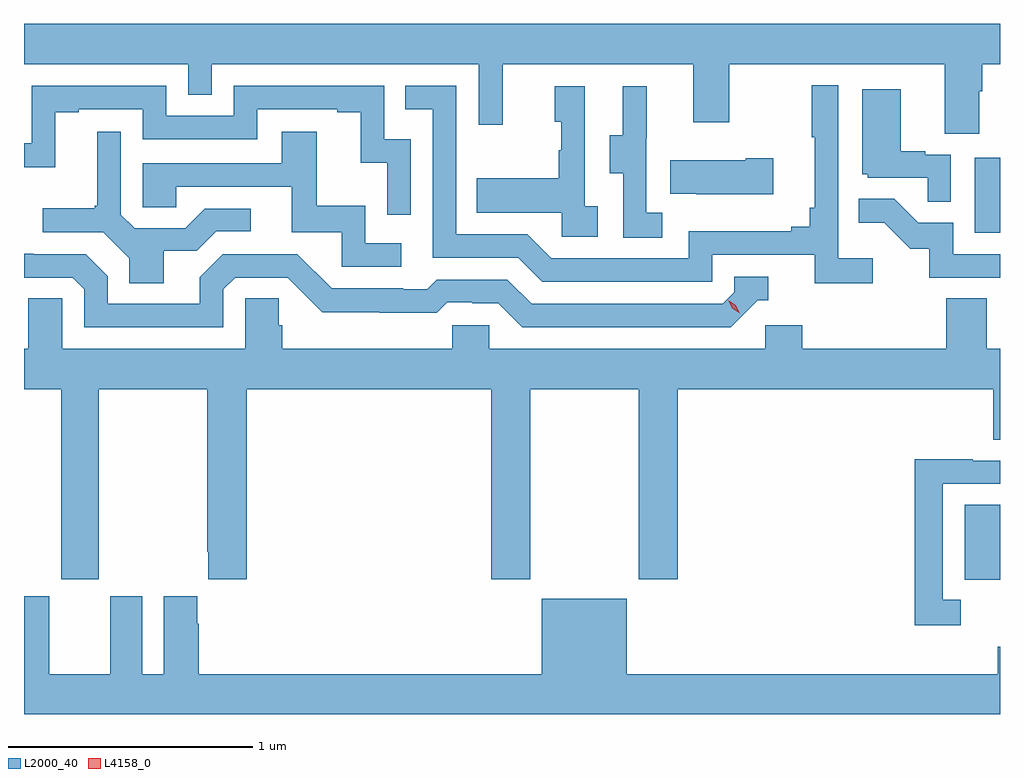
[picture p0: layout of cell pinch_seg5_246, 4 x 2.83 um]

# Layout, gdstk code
import gdstk
lib = gdstk.Library(unit=1e-6, precision=1e-09)
def R(c, l, rs):  # rectangles x0, y0, x1, y1
    for r in rs: c.add(gdstk.rectangle(r[:2], r[2:], *l))
def P(c, l, *ps):  # polygons
    for p in ps: c.add(gdstk.Polygon(p, *l))
L2000_40 = (2000, 40)
L4158_0 = (4158, 0)

pinch_seg5_246 = lib.new_cell('pinch_seg5_246')
R(pinch_seg5_246, L2000_40, [(938.324,905.262,938.469,905.569), (938.366,906.684,938.469,906.991)])
P(pinch_seg5_246, L2000_40, [(934.469,907.376),(935.142,907.376),(935.142,907.249),(935.238,907.249),(935.238,907.376),(936.333,907.376),(936.333,907.128),(936.431,907.128),(936.431,907.376),(937.211,907.376),(937.211,907.137),(937.359,907.137),(937.359,907.376),(938.243,907.376),(938.243,907.09),(938.383,907.09),(938.383,907.264),(938.396,907.264),(938.396,907.376),(938.469,907.376),(938.469,907.54),(934.469,907.54)],
  [(937.948,906.58),(937.806,906.58),(937.806,907.288),(937.698,907.288),(937.698,907.075),(937.709,907.075),(937.709,906.787),(937.69,906.787),(937.69,906.71),(937.613,906.71),(937.613,906.691),(937.194,906.691),(937.194,906.579),(936.63,906.579),(936.531,906.678),(936.24,906.678),(936.24,907.287),(936.031,907.287),(936.031,907.191),(936.144,907.191),(936.144,906.582),(936.494,906.582),(936.593,906.483),(937.29,906.483),(937.29,906.594),(937.709,906.594),(937.709,906.478),(937.948,906.478)],
  [(936.054,907.068),(935.946,907.068),(935.946,907.287),(935.328,907.287),(935.328,907.164),(935.052,907.164),(935.052,907.287),(934.5,907.287),(934.5,907.051),(934.469,907.051),(934.469,906.953),(934.597,906.953),(934.597,907.179),(934.693,907.179),(934.693,907.191),(934.956,907.191),(934.956,907.068),(935.424,907.068),(935.424,907.191),(935.753,907.191),(935.753,907.179),(935.849,907.179),(935.849,906.971),(935.958,906.971),(935.958,906.759),(936.054,906.759)],
  [(936.82,906.794),(936.768,906.794),(936.768,907.285),(936.644,907.285),(936.644,907.14),(936.67,907.14),(936.67,907.022),(936.66,907.022),(936.66,906.907),(936.325,906.907),(936.325,906.767),(936.672,906.767),(936.672,906.669),(936.82,906.669)],
  [(937.084,906.767),(937.02,906.767),(937.02,907.071),(937.022,907.071),(937.022,907.285),(936.923,907.285),(936.923,907.083),(936.869,907.083),(936.869,906.928),(936.924,906.928),(936.924,906.664),(937.084,906.664)],
  [(938.268,907.005),(938.162,907.005),(938.162,907.018),(938.062,907.018),(938.062,907.273),(937.904,907.273),(937.904,906.924),(937.926,906.924),(937.926,906.909),(938.173,906.909),(938.173,906.811),(938.268,906.811)],
  [(935.041,906.61),(935.176,906.61),(935.256,906.69),(935.398,906.69),(935.398,906.783),(935.21,906.783),(935.129,906.702),(934.923,906.702),(934.866,906.759),(934.866,907.099),(934.769,907.099),(934.769,906.796),(934.758,906.796),(934.758,906.784),(934.545,906.784),(934.545,906.687),(934.794,906.687),(934.901,906.58),(934.901,906.478),(935.041,906.478)],
  [(936.016,906.642),(935.868,906.642),(935.868,906.796),(935.669,906.796),(935.669,907.099),(935.525,907.099),(935.525,906.969),(934.956,906.969),(934.956,906.789),(935.093,906.789),(935.093,906.873),(935.567,906.873),(935.567,906.687),(935.772,906.687),(935.772,906.546),(936.016,906.546)],
  [(937.54,906.99),(937.427,906.99),(937.427,906.982),(937.117,906.982),(937.117,906.845),(937.225,906.845),(937.225,906.842),(937.54,906.842)],
  [(938.469,906.597),(938.277,906.597),(938.277,906.726),(938.133,906.726),(938.035,906.824),(937.891,906.824),(937.891,906.725),(937.995,906.725),(938.102,906.618),(938.179,906.618),(938.179,906.501),(938.469,906.501)],
  [(935.286,906.453),(935.334,906.501),(935.55,906.501),(935.692,906.359),(935.928,906.359),(935.928,906.357),(936.161,906.357),(936.203,906.399),(936.306,906.399),(936.306,906.396),(936.413,906.396),(936.512,906.297),(937.365,906.297),(937.476,906.408),(937.519,906.408),(937.519,906.504),(937.38,906.504),(937.38,906.441),(937.332,906.393),(936.549,906.393),(936.45,906.492),(936.161,906.492),(936.122,906.453),(936.023,906.453),(936.023,906.456),(935.73,906.456),(935.589,906.597),(935.283,906.597),(935.189,906.503),(935.189,906.393),(934.812,906.393),(934.812,906.507),(934.722,906.597),(934.506,906.597),(934.506,906.599),(934.469,906.599),(934.469,906.501),(934.668,906.501),(934.716,906.453),(934.716,906.297),(935.286,906.297)],
  [(934.776,906.044),(935.221,906.044),(935.221,905.377),(935.225,905.377),(935.225,905.265),(935.381,905.265),(935.381,906.044),(936.383,906.044),(936.383,905.265),(936.543,905.265),(936.543,906.044),(936.988,906.044),(936.988,905.265),(937.148,905.265),(937.148,906.044),(938.441,906.044),(938.441,905.836),(938.469,905.836),(938.469,906.208),(938.414,906.208),(938.414,906.416),(938.249,906.416),(938.249,906.208),(937.658,906.208),(937.658,906.306),(937.506,906.306),(937.506,906.208),(936.375,906.208),(936.375,906.306),(936.225,906.306),(936.225,906.208),(935.528,906.208),(935.528,906.306),(935.513,906.306),(935.513,906.416),(935.376,906.416),(935.376,906.208),(934.626,906.208),(934.626,906.416),(934.487,906.416),(934.487,906.208),(934.469,906.208),(934.469,906.044),(934.621,906.044),(934.621,905.265),(934.776,905.265)],
  [(938.308,905.181),(938.235,905.181),(938.235,905.655),(938.469,905.655),(938.469,905.751),(938.357,905.751),(938.357,905.756),(938.119,905.756),(938.119,905.076),(938.308,905.076)],
  [(938.469,904.988),(938.459,904.988),(938.459,904.876),(936.94,904.876),(936.94,905.185),(936.59,905.185),(936.59,904.876),(935.186,904.876),(935.186,905.081),(935.179,905.081),(935.179,905.194),(935.042,905.194),(935.042,904.876),(934.954,904.876),(934.954,905.194),(934.823,905.194),(934.823,904.876),(934.573,904.876),(934.573,905.194),(934.469,905.194),(934.469,904.712),(938.469,904.712)])
P(pinch_seg5_246, L4158_0, [(937.402,906.354),(937.371,906.374),(937.356,906.407),(937.356,906.407),(937.356,906.407),(937.386,906.387),(937.402,906.354),(937.402,906.354)])

lib.write_gds('pinch_seg5_246.gds')
